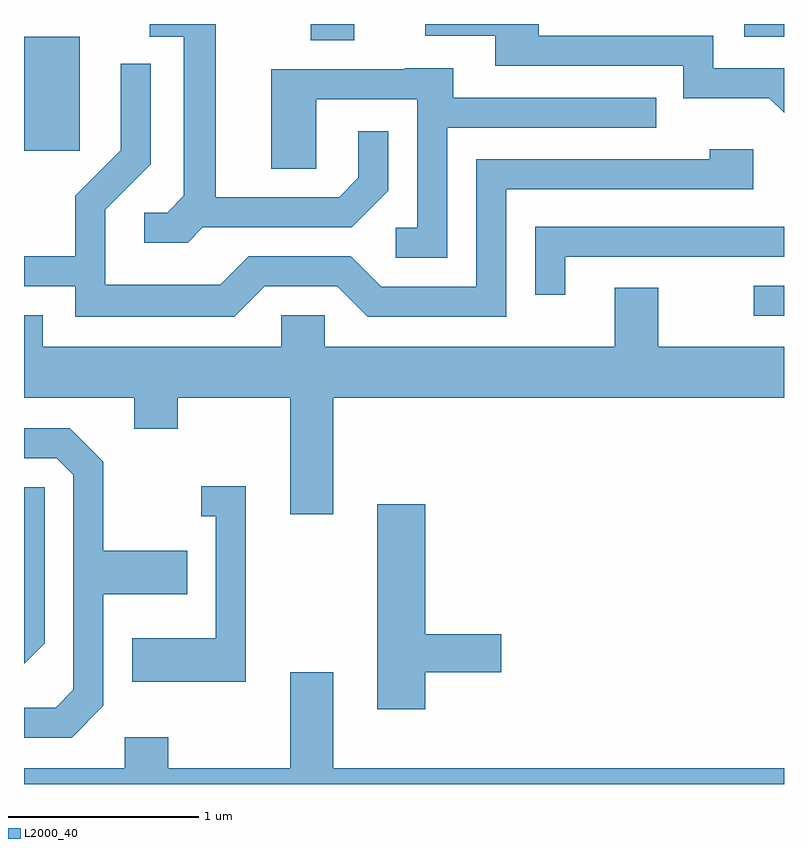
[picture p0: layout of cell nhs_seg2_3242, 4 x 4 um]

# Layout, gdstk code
import gdstk
lib = gdstk.Library(unit=1e-6, precision=1e-09)
def R(c, l, rs):  # rectangles x0, y0, x1, y1
    for r in rs: c.add(gdstk.rectangle(r[:2], r[2:], *l))
def P(c, l, *ps):  # polygons
    for p in ps: c.add(gdstk.Polygon(p, *l))
L2000_40 = (2000, 40)

nhs_seg2_3242 = lib.new_cell('nhs_seg2_3242')
R(nhs_seg2_3242, L2000_40, [(283.453,1084.266,283.611,1084.424), (279.611,1085.136,279.904,1085.734), (281.121,1085.716,281.349,1085.802), (283.403,1085.736,283.611,1085.802)])
P(nhs_seg2_3242, L2000_40, [(283.611,1085.569),(283.239,1085.569),(283.239,1085.739),(282.319,1085.739),(282.319,1085.802),(281.723,1085.802),(281.723,1085.741),(282.091,1085.741),(282.091,1085.581),(283.081,1085.581),(283.081,1085.411),(283.534,1085.411),(283.611,1085.334)],
  [(280.552,1084.731),(281.337,1084.731),(281.529,1084.924),(281.529,1085.238),(281.371,1085.238),(281.371,1084.992),(281.269,1084.889),(280.619,1084.889),(280.619,1085.802),(280.273,1085.802),(280.273,1085.736),(280.451,1085.736),(280.451,1084.897),(280.364,1084.809),(280.243,1084.809),(280.243,1084.651),(280.472,1084.651)],
  [(280.877,1084.421),(281.259,1084.421),(281.419,1084.261),(282.149,1084.261),(282.149,1084.931),(283.449,1084.931),(283.449,1085.144),(283.221,1085.144),(283.221,1085.089),(281.991,1085.089),(281.991,1084.419),(281.492,1084.419),(281.332,1084.579),(280.794,1084.579),(280.644,1084.429),(280.039,1084.429),(280.039,1084.824),(280.279,1085.064),(280.279,1085.593),(280.121,1085.593),(280.121,1085.137),(279.881,1084.897),(279.881,1084.579),(279.611,1084.579),(279.611,1084.421),(279.881,1084.421),(279.881,1084.261),(280.717,1084.261)],
  [(281.839,1085.256),(282.938,1085.256),(282.938,1085.414),(281.869,1085.414),(281.869,1085.569),(281.615,1085.569),(281.615,1085.564),(280.911,1085.564),(280.911,1085.041),(281.149,1085.041),(281.149,1085.406),(281.681,1085.406),(281.681,1084.729),(281.568,1084.729),(281.568,1084.571),(281.839,1084.571)],
  [(282.459,1084.576),(283.611,1084.576),(283.611,1084.734),(282.301,1084.734),(282.301,1084.378),(282.459,1084.378)],
  [(281.239,1083.836),(283.611,1083.836),(283.611,1084.104),(282.949,1084.104),(282.949,1084.414),(282.721,1084.414),(282.721,1084.104),(281.194,1084.104),(281.194,1084.269),(280.966,1084.269),(280.966,1084.104),(279.709,1084.104),(279.709,1084.269),(279.611,1084.269),(279.611,1083.836),(280.191,1083.836),(280.191,1083.671),(280.419,1083.671),(280.419,1083.836),(281.011,1083.836),(281.011,1083.221),(281.239,1083.221)],
  [(280.029,1082.214),(280.029,1082.801),(280.469,1082.801),(280.469,1083.029),(280.029,1083.029),(280.029,1083.497),(279.852,1083.674),(279.611,1083.674),(279.611,1083.516),(279.784,1083.516),(279.871,1083.429),(279.871,1082.297),(279.779,1082.204),(279.611,1082.204),(279.611,1082.046),(279.862,1082.046)],
  [(280.779,1083.369),(280.543,1083.369),(280.543,1083.211),(280.621,1083.211),(280.621,1082.569),(280.181,1082.569),(280.181,1082.341),(280.779,1082.341)],
  [(279.719,1082.544),(279.719,1083.364),(279.611,1083.364),(279.611,1082.435)],
  [(281.724,1082.391),(282.124,1082.391),(282.124,1082.589),(281.724,1082.589),(281.724,1083.274),(281.471,1083.274),(281.471,1082.196),(281.724,1082.196)],
  [(283.611,1081.884),(281.239,1081.884),(281.239,1082.389),(281.011,1082.389),(281.011,1081.884),(280.369,1081.884),(280.369,1082.049),(280.141,1082.049),(280.141,1081.884),(279.611,1081.884),(279.611,1081.802),(283.611,1081.802)])

lib.write_gds('nhs_seg2_3242.gds')
